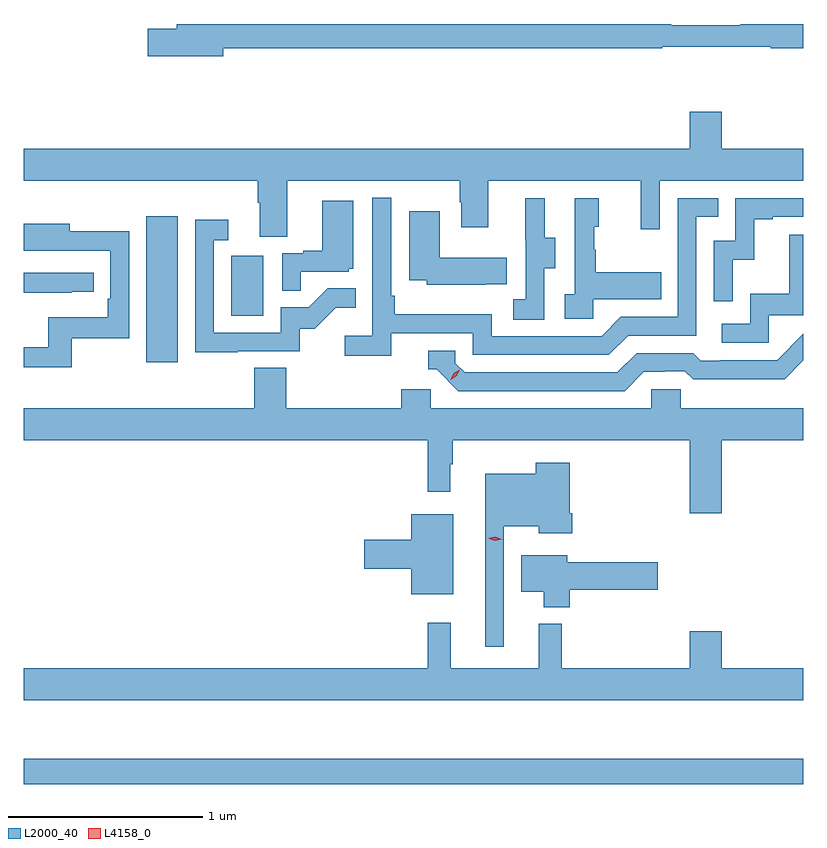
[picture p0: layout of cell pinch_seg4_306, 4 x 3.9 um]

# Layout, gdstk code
import gdstk
lib = gdstk.Library(unit=1e-6, precision=1e-09)
def R(c, l, rs):  # rectangles x0, y0, x1, y1
    for r in rs: c.add(gdstk.rectangle(r[:2], r[2:], *l))
def P(c, l, *ps):  # polygons
    for p in ps: c.add(gdstk.Polygon(p, *l))
L2000_40 = (2000, 40)
L4158_0 = (4158, 0)

pinch_seg4_306 = lib.new_cell('pinch_seg4_306')
R(pinch_seg4_306, L2000_40, [(940.811,797.722,944.811,797.851), (941.441,799.884,941.602,800.635), (941.876,800.124,942.04,800.431)])
P(pinch_seg4_306, L2000_40, [(941.836,801.496),(944.088,801.496),(944.088,801.504),(944.644,801.504),(944.644,801.496),(944.811,801.496),(944.811,801.62),(944.488,801.62),(944.488,801.613),(944.132,801.613),(944.132,801.62),(941.597,801.62),(941.597,801.596),(941.448,801.596),(941.448,801.454),(941.836,801.454)],
  [(942.163,800.816),(943.048,800.816),(943.048,800.705),(943.055,800.705),(943.055,800.577),(943.195,800.577),(943.195,800.816),(943.976,800.816),(943.976,800.568),(944.073,800.568),(944.073,800.816),(944.811,800.816),(944.811,800.98),(944.392,800.98),(944.392,801.169),(944.228,801.169),(944.228,800.98),(940.811,800.98),(940.811,800.816),(942.011,800.816),(942.011,800.704),(942.023,800.704),(942.023,800.53),(942.163,800.53)],
  [(942.698,800.034),(943.116,800.034),(943.116,799.923),(943.813,799.923),(943.912,800.022),(944.262,800.022),(944.262,800.631),(944.375,800.631),(944.375,800.727),(944.166,800.727),(944.166,800.118),(943.875,800.118),(943.776,800.019),(943.212,800.019),(943.212,800.131),(942.716,800.131),(942.716,800.227),(942.696,800.227),(942.696,800.728),(942.6,800.728),(942.6,800.02),(942.459,800.02),(942.459,799.918),(942.698,799.918)],
  [(944.448,800.411),(944.558,800.411),(944.558,800.619),(944.653,800.619),(944.653,800.631),(944.811,800.631),(944.811,800.727),(944.46,800.727),(944.46,800.508),(944.352,800.508),(944.352,800.199),(944.448,800.199)],
  [(943.734,800.207),(944.081,800.207),(944.081,800.347),(943.747,800.347),(943.747,800.462),(943.737,800.462),(943.737,800.58),(943.762,800.58),(943.762,800.725),(943.638,800.725),(943.638,800.234),(943.587,800.234),(943.587,800.109),(943.734,800.109)],
  [(943.482,800.368),(943.537,800.368),(943.537,800.523),(943.483,800.523),(943.483,800.725),(943.385,800.725),(943.385,800.511),(943.386,800.511),(943.386,800.207),(943.323,800.207),(943.323,800.104),(943.482,800.104)],
  [(942.233,800.349),(942.48,800.349),(942.48,800.364),(942.502,800.364),(942.502,800.713),(942.344,800.713),(942.344,800.458),(942.245,800.458),(942.245,800.445),(942.138,800.445),(942.138,800.251),(942.233,800.251)],
  [(943.181,800.285),(943.289,800.285),(943.289,800.422),(942.946,800.422),(942.946,800.659),(942.788,800.659),(942.788,800.306),(942.879,800.306),(942.879,800.282),(943.181,800.282)],
  [(941.909,799.941),(942.228,799.941),(942.228,800.058),(942.304,800.058),(942.411,800.165),(942.515,800.165),(942.515,800.264),(942.371,800.264),(942.273,800.166),(942.129,800.166),(942.129,800.037),(941.787,800.037),(941.787,800.511),(941.86,800.511),(941.86,800.617),(941.691,800.617),(941.691,799.936),(941.909,799.936)],
  [(941.059,800.007),(941.352,800.007),(941.352,800.558),(941.047,800.558),(941.047,800.596),(940.811,800.596),(940.811,800.456),(940.943,800.456),(940.943,800.457),(941.256,800.457),(941.256,800.212),(941.243,800.212),(941.243,800.116),(940.938,800.116),(940.938,799.961),(940.811,799.961),(940.811,799.86),(941.059,799.86)],
  [(944.634,800.127),(944.811,800.127),(944.811,800.539),(944.737,800.539),(944.737,800.236),(944.538,800.236),(944.538,800.082),(944.391,800.082),(944.391,799.986),(944.634,799.986)],
  [(941.057,800.247),(941.17,800.247),(941.17,800.343),(940.811,800.343),(940.811,800.242),(941.057,800.242)],
  [(943.993,799.836),(944.1,799.836),(944.1,799.839),(944.203,799.839),(944.245,799.797),(944.478,799.797),(944.478,799.799),(944.714,799.799),(944.811,799.896),(944.811,800.031),(944.676,799.896),(944.383,799.896),(944.383,799.893),(944.284,799.893),(944.245,799.932),(943.956,799.932),(943.857,799.833),(943.074,799.833),(943.026,799.881),(943.026,799.944),(942.887,799.944),(942.887,799.848),(942.93,799.848),(943.041,799.737),(943.894,799.737)],
  [(944.392,799.484),(944.811,799.484),(944.811,799.648),(944.181,799.648),(944.181,799.746),(944.031,799.746),(944.031,799.648),(942.9,799.648),(942.9,799.746),(942.749,799.746),(942.749,799.648),(942.158,799.648),(942.158,799.856),(941.993,799.856),(941.993,799.648),(940.811,799.648),(940.811,799.484),(942.883,799.484),(942.883,799.221),(943,799.221),(943,799.361),(943.012,799.361),(943.012,799.484),(944.228,799.484),(944.228,799.11),(944.392,799.11)],
  [(943.275,799.043),(943.454,799.043),(943.454,799.007),(943.625,799.007),(943.625,799.111),(943.612,799.111),(943.612,799.369),(943.437,799.369),(943.437,799.312),(943.178,799.312),(943.178,798.426),(943.275,798.426)],
  [(943.015,799.105),(942.8,799.105),(942.8,798.974),(942.558,798.974),(942.558,798.827),(942.8,798.827),(942.8,798.695),(943.015,798.695)],
  [(943.613,798.718),(944.065,798.718),(944.065,798.86),(943.6,798.86),(943.6,798.895),(943.364,798.895),(943.364,798.707),(943.478,798.707),(943.478,798.629),(943.613,798.629)],
  [(944.811,798.316),(944.392,798.316),(944.392,798.505),(944.228,798.505),(944.228,798.316),(943.571,798.316),(943.571,798.544),(943.454,798.544),(943.454,798.316),(943.001,798.316),(943.001,798.55),(942.883,798.55),(942.883,798.316),(940.811,798.316),(940.811,798.152),(944.811,798.152)])
P(pinch_seg4_306, L4158_0, [(943.228,798.97),(943.194,798.982),(943.193,798.982),(943.194,798.982),(943.23,798.989),(943.264,798.977),(943.265,798.977),(943.264,798.977)],
  [(943.002,799.795),(943.002,799.795),(943.018,799.828),(943.049,799.847),(943.049,799.847),(943.049,799.847),(943.033,799.815),(943.003,799.795)])

lib.write_gds('pinch_seg4_306.gds')
